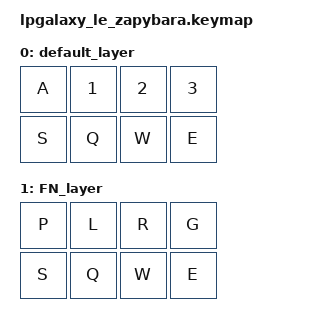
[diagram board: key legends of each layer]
/*
 * Copyright (c) 2020 The ZMK Contributors
 *
 * SPDX-License-Identifier: MIT
 */

#include <behaviors.dtsi>
#include <dt-bindings/zmk/keys.h>
#include <dt-bindings/zmk/bt.h>

/ {
    keymap {
        compatible = "zmk,keymap";

        default_layer {
            bindings = <
                &kp A  &kp N1  &kp N2  &kp N3
                &kp S &kp Q   &kp W   &kp E
            >;
        };

        FN_layer {
            bindings = <
                &kp P  &kp L  &kp R  &kp G
                &kp S &kp Q   &kp W   &kp E
            >;
        };

        extra1 {
            status = "reserved";
        };
    };
};
